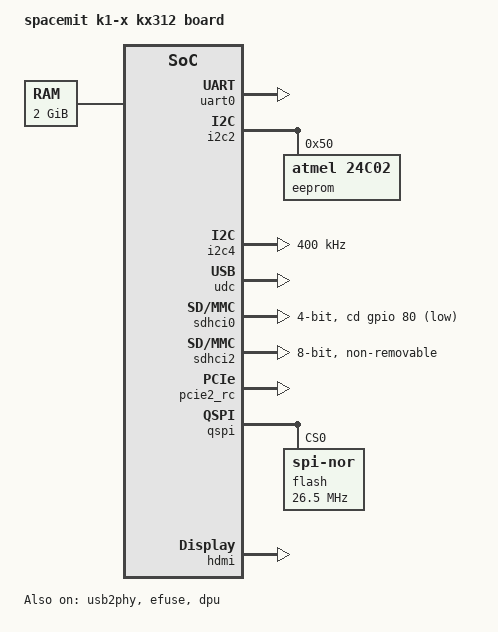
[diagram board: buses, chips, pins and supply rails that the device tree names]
// SPDX-License-Identifier: (GPL-2.0 OR MIT)
/* Copyright (c) 2023 Spacemit, Inc */

/dts-v1/;

#include "k1-x.dtsi"
#include "k1-x_pinctrl.dtsi"
#include "k1-x_spm8821.dtsi"

/ {
	model = "spacemit k1-x kx312 board";

	aliases {
		efuse_power = &ldo_31;
	};

	memory@0 {
		device_type = "memory";
		reg = <0x00000000 0x00000000 0x00000000 0x80000000>;
	};

	chosen {
		bootargs = "earlycon=sbi console=ttyS0,115200 debug loglevel=8,initcall_debug=1 rdinit=/init.tmp";
		stdout-path = "serial0:115200n8";
	};
};

&cpu_0 {
	/* boot frequency for cluster-0, should be 1600000, 1228000, 819000, or 614000 */
	boot_freq_cluster0 = <1228000>;
	/* boot frequency for cluster-1, should be 1600000, 1228000, 819000, or 614000 */
	boot_freq_cluster1 = <1228000>;
};

&dramc {
	/* dram data rate, should be 1200, 1600, or 2400 */
	datarate = <2400>;
};

&cpus {
	timebase-frequency = <24000000>;
};

&ccu {
	pll2-freq = <2800000000>;
};

&uart0 {
	status = "okay";
};

&i2c2 {
	#address-cells = <1>;
	#size-cells = <0>;
	pinctrl-names = "default";
	pinctrl-0 = <&pinctrl_i2c2_0>;
	status = "okay";

	eeprom@50{
		compatible = "atmel,24c02";
		reg = <0x50>;
		vin-supply-names = "eeprom_1v8";
		status = "okay";
	};
};

&i2c4 {
	clock-frequency = <400000>;
	status = "okay";
};

&pinctrl {
	pinctrl-single,gpio-range = <
		&range GPIO_49  2 (MUX_MODE0 | EDGE_NONE | PULL_UP   | PAD_3V_DS4)
		&range GPIO_58  1 (MUX_MODE0 | EDGE_NONE | PULL_DOWN | PAD_1V8_DS2)
		&range GPIO_63  2 (MUX_MODE0 | EDGE_NONE | PULL_DOWN | PAD_1V8_DS2)
		&range GPIO_65  1 (MUX_MODE0 | EDGE_NONE | PULL_UP   | PAD_1V8_DS2)
		&range GPIO_66  2 (MUX_MODE0 | EDGE_NONE | PULL_DOWN | PAD_1V8_DS2)
		&range PRI_TDI  2 (MUX_MODE1 | EDGE_NONE | PULL_UP   | PAD_1V8_DS2)
		&range PRI_TCK  1 (MUX_MODE1 | EDGE_NONE | PULL_DOWN | PAD_1V8_DS2)
		&range PRI_TDO  1 (MUX_MODE1 | EDGE_NONE | PULL_UP   | PAD_1V8_DS2)
		&range GPIO_74  1 (MUX_MODE0 | EDGE_NONE | PULL_UP   | PAD_1V8_DS2)
		&range GPIO_80  1 (MUX_MODE0 | EDGE_NONE | PULL_UP   | PAD_3V_DS4)
		&range GPIO_81  3 (MUX_MODE0 | EDGE_NONE | PULL_UP   | PAD_1V8_DS2)
		&range GPIO_90  1 (MUX_MODE0 | EDGE_NONE | PULL_DOWN | PAD_1V8_DS2)
		&range GPIO_91  2 (MUX_MODE0 | EDGE_NONE | PULL_UP   | PAD_1V8_DS2)
		&range DVL0     2 (MUX_MODE1 | EDGE_NONE | PULL_DOWN | PAD_1V8_DS2)
		&range GPIO_110 1 (MUX_MODE0 | EDGE_NONE | PULL_DOWN | PAD_1V8_DS2)
		&range GPIO_114 1 (MUX_MODE0 | EDGE_NONE | PULL_DOWN | PAD_1V8_DS2)
		&range GPIO_115 2 (MUX_MODE0 | EDGE_NONE | PULL_DOWN | PAD_1V8_DS2)
		&range GPIO_123 1 (MUX_MODE0 | EDGE_NONE | PULL_DOWN | PAD_1V8_DS2)
		&range GPIO_124 1 (MUX_MODE0 | EDGE_NONE | PULL_UP   | PAD_1V8_DS2)
		&range GPIO_125 3 (MUX_MODE0 | EDGE_NONE | PULL_DOWN | PAD_1V8_DS2)
	>;

	gpio80_pmx_func0: gpio80_pmx_func0 {
		pinctrl-single,pins = <
			K1X_PADCONF(GPIO_80, MUX_MODE0, (EDGE_BOTH | PULL_UP | PAD_3V_DS4))  /* mmc cd */
		>;
	};
};

&gpio{
	gpio-ranges = <
		&pinctrl 49 GPIO_49 2
		&pinctrl 58 GPIO_58 1
		&pinctrl 63 GPIO_63 5
		&pinctrl 70 PRI_TDI 4
		&pinctrl 74 GPIO_74 1
		&pinctrl 80 GPIO_80 4
		&pinctrl 90 GPIO_90 3
		&pinctrl 96 DVL0 2
		&pinctrl 110 GPIO_110 1
		&pinctrl 114 GPIO_114 3
		&pinctrl 123 GPIO_123 5
	>;
};

&udc {
	status = "okay";
};

&usb2phy {
	status = "okay";
};

&sdhci0 {
	pinctrl-names = "default";
	pinctrl-0 = <&pinctrl_mmc1 &gpio80_pmx_func0>;
	bus-width = <4>;
	cd-gpios = <&gpio 80 0>;
	cd-inverted;
	cap-sd-highspeed;
	sdh-phy-module = <0>;
	status = "okay";
};

/* eMMC */
&sdhci2 {
	bus-width = <8>;
	non-removable;
	mmc-hs400-1_8v;
	mmc-hs400-enhanced-strobe;
	sdh-phy-module = <1>;
	status = "okay";
};

&pcie2_rc {
	pinctrl-names = "default";
	pinctrl-0 = <&pinctrl_pcie2_4>;
	status = "okay";
};

&qspi {
	status = "okay";
	pinctrl-names = "default";
	pinctrl-0 = <&pinctrl_qspi>;

	flash@0 {
		compatible = "jedec,spi-nor";
		reg = <0>;
		spi-max-frequency = <26500000>;
		m25p,fast-read;
		broken-flash-reset;
		status = "okay";
	};
};

&efuse {
	status = "okay";
};

&dpu {
	status = "okay";
};

&hdmi {
	pinctrl-names = "default";
	pinctrl-0 = <&pinctrl_hdmi_0>;
	status = "okay";
};

